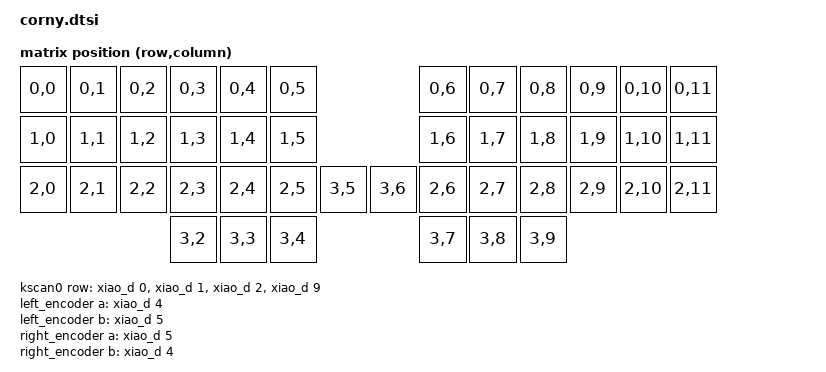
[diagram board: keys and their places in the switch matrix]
#include <dt-bindings/zmk/matrix_transform.h>

/ {
    chosen {
      zmk,kscan = &kscan0;
      zmk,matrix_transform = &default_transform;
    };

    default_transform: keymap_transform_0 {
      compatible = "zmk,matrix-transform";
      columns = <12>;
      rows = <4>;
// | SW1  | SW2  | SW3  | SW4  | SW5  | SW6  |                  | SW6  | SW5  | SW4  | SW3  | SW2  | SW1  |
// | SW7  | SW8  | SW9  | SW10 | SW11 | SW12 |                  | SW12 | SW11 | SW10 | SW9  | SW8  | SW7  |
// | SW13 | SW14 | SW15 | SW16 | SW17 | SW18 | SW22 |   | SW22  | SW18 | SW17 | SW16 | SW15 | SW14 | SW13 |
//                      | SW19 | SW20 | SW21 |                  | SW21 | SW20 | SW19 |
	    map = <
RC(0,0) RC(0,1) RC(0,2) RC(0,3) RC(0,4) RC(0,5)                 RC(0,6) RC(0,7) RC(0,8) RC(0,9) RC(0,10) RC(0,11)
RC(1,0) RC(1,1) RC(1,2) RC(1,3) RC(1,4) RC(1,5)                 RC(1,6) RC(1,7) RC(1,8) RC(1,9) RC(1,10) RC(1,11)
RC(2,0) RC(2,1) RC(2,2) RC(2,3) RC(2,4) RC(2,5) RC(3,5) RC(3,6) RC(2,6) RC(2,7) RC(2,8) RC(2,9) RC(2,10) RC(2,11)
                        RC(3,2) RC(3,3) RC(3,4)                 RC(3,7) RC(3,8) RC(3,9)
      >;
    };

    kscan0: kscan_0 {
      compatible = "zmk,kscan-gpio-matrix";
      diode-direction = "col2row";
      wakeup-source;

      row-gpios
        = <&xiao_d 0 (GPIO_ACTIVE_HIGH | GPIO_PULL_DOWN)>
        , <&xiao_d 1 (GPIO_ACTIVE_HIGH | GPIO_PULL_DOWN)>
        , <&xiao_d 2 (GPIO_ACTIVE_HIGH | GPIO_PULL_DOWN)>
        , <&xiao_d 9 (GPIO_ACTIVE_HIGH | GPIO_PULL_DOWN)>
        ;
    };

    left_encoder: encoder_left {
        compatible = "alps,ec11";
        a-gpios = <&xiao_d 4 (GPIO_ACTIVE_HIGH | GPIO_PULL_UP)>;
        b-gpios = <&xiao_d 5 (GPIO_ACTIVE_HIGH | GPIO_PULL_UP)>;
        steps = <80>;
        status = "disabled";
    };

    right_encoder: encoder_right {
        compatible = "alps,ec11";
        a-gpios = <&xiao_d 5 (GPIO_ACTIVE_HIGH | GPIO_PULL_UP)>;
        b-gpios = <&xiao_d 4 (GPIO_ACTIVE_HIGH | GPIO_PULL_UP)>;
        steps = <80>;
        status = "disabled";
    };

    sensors: sensors {
        compatible = "zmk,keymap-sensors";
        sensors = <&left_encoder &right_encoder>;
        triggers-per-rotation = <20>;
    };
};
